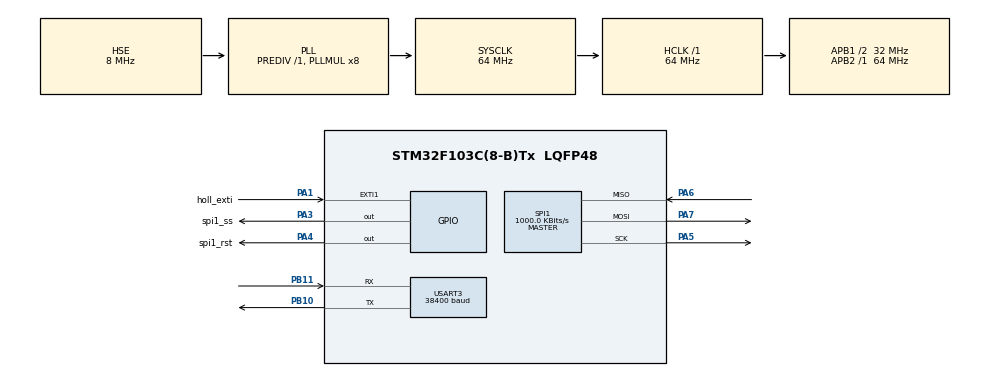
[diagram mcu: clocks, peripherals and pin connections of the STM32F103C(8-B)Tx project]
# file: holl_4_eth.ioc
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Mcu.Family=STM32F1
Mcu.Name=STM32F103C(8-B)Tx
Mcu.Package=LQFP48
NVIC.EXTI1_IRQn=true\:0\:0\:false\:true\:true\:1
NVIC.FLASH_IRQn=true\:0\:0\:false\:false\:true
NVIC.PVD_IRQn=true\:0\:0\:false\:false\:true
NVIC.PriorityGroup=NVIC_PRIORITYGROUP_4
NVIC.RCC_IRQn=true\:0\:0\:false\:false\:true
NVIC.SPI1_IRQn=true\:0\:0\:false\:true\:true\:2
NVIC.USART3_IRQn=true\:0\:0\:false\:true\:true\:3
PA1.GPIO_Label=holl_exti
PA1.GPIO_ModeDefaultEXTI=GPIO_MODE_IT_FALLING
PA1.Signal=GPXTI1
PA13.Mode=Serial_Wire
PA13.Signal=SYS_JTMS-SWDIO
PA14.Mode=Serial_Wire
PA14.Signal=SYS_JTCK-SWCLK
PA3.GPIO_Label=spi1_ss
PA3.Signal=GPIO_Output
PA4.GPIO_Label=spi1_rst
PA4.Signal=GPIO_Output
PA5.Mode=Full_Duplex_Master
PA5.Signal=SPI1_SCK
PA6.Mode=Full_Duplex_Master
PA6.Signal=SPI1_MISO
PA7.Mode=Full_Duplex_Master
PA7.Signal=SPI1_MOSI
PB10.Mode=Asynchronous
PB10.Signal=USART3_TX
PB11.Mode=Asynchronous
PB11.Signal=USART3_RX
PD0-OSC_IN.Mode=HSE-External-Oscillator
PD0-OSC_IN.Signal=RCC_OSC_IN
PD1-OSC_OUT.Mode=HSE-External-Oscillator
PD1-OSC_OUT.Signal=RCC_OSC_OUT
ProjectManager.HeapSize=0x200
ProjectManager.StackSize=0x400
ProjectManager.TargetToolchain=MDK-ARM V5
RCC.AHBFreq_Value=64000000
RCC.APB1CLKDivider=RCC_HCLK_DIV2
RCC.APB1Freq_Value=32000000
RCC.APB1TimFreq_Value=64000000
RCC.APB2Freq_Value=64000000
RCC.APB2TimFreq_Value=64000000
RCC.HCLKFreq_Value=64000000
RCC.HSIState=RCC_HSI_ON
RCC.PLLMUL=RCC_PLL_MUL8
RCC.PLLSourceVirtual=RCC_PLLSOURCE_HSE
RCC.SYSCLKFreq_VALUE=64000000
RCC.SYSCLKSource=RCC_SYSCLKSOURCE_PLLCLK
RCC.USBFreq_Value=64000000
SPI1.BaudRatePrescaler=SPI_BAUDRATEPRESCALER_64
SPI1.CalculateBaudRate=1000.0 KBits/s
SPI1.Mode=SPI_MODE_MASTER
USART3.BaudRate=38400
board=holl_4_eth

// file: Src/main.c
/**
  ******************************************************************************
  * File Name          : main.c
  * Description        : Main program body
  ******************************************************************************
  *
  * COPYRIGHT(c) 2016 STMicroelectronics
  *
  * Redistribution and use in source and binary forms, with or without modification,
  * are permitted provided that the following conditions are met:
  *   1. Redistributions of source code must retain the above copyright notice,
  *      this list of conditions and the following disclaimer.
  *   2. Redistributions in binary form must reproduce the above copyright notice,
  *      this list of conditions and the following disclaimer in the documentation
  *      and/or other materials provided with the distribution.
  *   3. Neither the name of STMicroelectronics nor the names of its contributors
  *      may be used to endorse or promote products derived from this software
  *      without specific prior written permission.
  *
  * THIS SOFTWARE IS PROVIDED BY THE COPYRIGHT HOLDERS AND CONTRIBUTORS "AS IS"
  * AND ANY EXPRESS OR IMPLIED WARRANTIES, INCLUDING, BUT NOT LIMITED TO, THE
  * IMPLIED WARRANTIES OF MERCHANTABILITY AND FITNESS FOR A PARTICULAR PURPOSE ARE
  * DISCLAIMED. IN NO EVENT SHALL THE COPYRIGHT HOLDER OR CONTRIBUTORS BE LIABLE
  * FOR ANY DIRECT, INDIRECT, INCIDENTAL, SPECIAL, EXEMPLARY, OR CONSEQUENTIAL
  * DAMAGES (INCLUDING, BUT NOT LIMITED TO, PROCUREMENT OF SUBSTITUTE GOODS OR
  * SERVICES; LOSS OF USE, DATA, OR PROFITS; OR BUSINESS INTERRUPTION) HOWEVER
  * CAUSED AND ON ANY THEORY OF LIABILITY, WHETHER IN CONTRACT, STRICT LIABILITY,
  * OR TORT (INCLUDING NEGLIGENCE OR OTHERWISE) ARISING IN ANY WAY OUT OF THE USE
  * OF THIS SOFTWARE, EVEN IF ADVISED OF THE POSSIBILITY OF SUCH DAMAGE.
  *
  ******************************************************************************
  */

/* USER CODE BEGIN Includes */

#include "main.h"

/* USER CODE END Includes */

/* USER CODE BEGIN PV */
/* Private variables ---------------------------------------------------------*/

/* USER CODE END PV */

void SystemClock_Config(void);
void MX_NVIC_Init(void);

/* USER CODE BEGIN PFP */
/* Private function prototypes -----------------------------------------------*/

/* USER CODE END PFP */

/* USER CODE BEGIN 0 */

//------------  собственные переменные  -----------------------------------

uint16_t S0_RX_BASE;      //  начальный адрес памяти, выделенной в RX буфере для Сокета0
uint16_t S0_RX_MASK;      // РАЗМЕР RX  буфера Сокета0
uint16_t S0_RX_OFFSET;    // указатель на начало принятого блока данных в RX буфере
uint16_t S0_RX_Start_Addr; // ФИЗИЧЕСКИЙ  адрес начала принтого блока данных в RX буфере
uint16_t S0_RX_RSR ;       //  РАЗМЕР принятого от Клиента блока данных
uint16_t S0_TX_BASE;    // начальный адрес памяти, выделенной в ТX буфере для Сокета0
uint16_t S0_TX_MASK;     // РАЗМЕР ТX  буфера Сокета0
uint16_t S0_TX_OFFSET ;
												 // указатель на начальный  адрес в памяти  ТХ буфера, куда следует записать блок
												 // данных для передачи Клиенту
uint16_t S0_TX_Start_Addr;
												 // ФИЗИЧЕСКИЙ  Начальный адрес в памяти ТХ буфера, куда следует записать
												 // блок  данных для передачи Клиенту
uint16_t S0_TX_End_Addr;
												 // указатель на Конечный адрес в памяти ТХ буфера, до которого W5100
												 //  должен дойти при считывании данных отсылаемых Клиенту

// --- строки символов для использования как HTTP  заголовки и «веб-странички»
// * размер  массива [222] взят с потолка и с запасом. Потом программа  расчитает  реальную длину данных
// ** CONST – чтобы  расположить строку в ПРОГРАММНОЙ памяти ( где места полно)
uint32_t main_count = 0;

const char ERROR404[222] = { "HTTP/1.1 200 OK\r\nContent-Type: text/html\r\nContent-Lenght: 39\r\n\r\n<HTML><CENTER>ERROR 404</CENTER></HTML>"};
// символы для  создания  странички «ошибка 404”

int try=0;  //  временно, для отладки. Номер обращения браузера –к серверу

/* USER CODE END 0 */

int main(void)
{

  /* MCU Configuration----------------------------------------------------------*/

  /* Reset of all peripherals, Initializes the Flash interface and the Systick. */
  HAL_Init();

  /* Configure the system clock */
  SystemClock_Config();

  /* Initialize all configured peripherals */
  MX_GPIO_Init();
  MX_USART3_UART_Init();
  MX_SPI1_Init();

  /* Initialize interrupts */
  MX_NVIC_Init();

  /* USER CODE BEGIN 2 */

	uint32_t count_temp = 0;
	char uart_data[20] = "";

	Init();   // инициализация  W5100  и системы ( сервера)

	OpenSocket0:

	//ooooooooooooooooooo ОТКРЫВАЕМ СОКЕТ 0 oooooooooooooooooooooooo
	if ( ! Open_Socket0() ) goto OpenSocket0; // цикл пока Сокет не откроется

	//ooooooooooooooooo  СЛУШАЕМ СОКЕТ  ooooooooooooooooooooooooo
	if ( Listen_Socket0() == 0 ) goto OpenSocket0; //если  сокет не «прослушивается» - уходим заново на открытие сокета

	//oooooooooooooo Соединение УСТАНОВЛЕНО ? oooooooooooooo

	CheckConnection:

  if (Socket0_Connection_Established() == 0 ) goto CheckConnection;
	// цикл пока соединение не установится ( тоесть пока не придет запрос от браузера)
  char messsage_check[] = "Connection Established... \r\n";
	uprintf(messsage_check);
	// для отладки (вывод на терминал)  МОЖНО УДАЛИТЬ

	//ooooooo( соединение уже установлено)  в принятых пакетах -  ДАННЫЕ? oooooo
  if  ( Socket0_Received_Data_Size() == 0 ) {
		char messsage_check2[] = "\r\n> (Zero) Received Data size is: %Lu (bytes) \r\n";
		uprintf(messsage_check2);
		// для отладки (вывод на терминал)  МОЖНО УДАЛИТЬ
		goto CheckFIN;   // раз ДАННЫХ нет о и передавать в отет нечего
															// поэтому сразу идем на проверку флагаFIN
  } // раз данных нет ( размер=0) то уходим на этап проверки закрытия соединения
   else
   {

		uprintf("(NonZero) Received Data size is: %Lu (bytes) \r\n");
                   // для отладки (вывод на терминал)  МОЖНО УДАЛИТЬ
   }

	// oooooooooo ( Данные в пакете есть) Процесс обработки*   ooooooooooooooo

	//на самом деле просто  выводит на терминал принятые данные
	// после отладки этот кусок можно удалить
	//Socket0_Received_Data_Reading();
	// для отладки (вывод на терминал)  МОЖНО УДАЛИТЬ

	// oooooooooooooo  Процесс ПЕРЕДАЧИ данных  ooooooooooooooooooooooooooooooo
	// тоесть отсылаем браузеру HTTP заголовок и HTML страничку

	if ( Socket0_Received_Request_is_index_html() ==  1)   Socket0_Send_index_html ();
   // если  клиент запрашивает "index.html"  то остылаем ему  index.html

	else  Socket0_Send_404_error ();
   //  если запрос любого другого файла  то  отсылаем  «страничку»  «ошибка 404»

	//ooooooooooo    Получен флаг  FIN ? ooooooooooooooooooooooooooo
	//  тоесть проверка требует ли  Клиент разрыва соединения

	CheckFIN:

	if ( Socket0_FIN_Received() == 1) goto  CloseConnection; //если FIN  пришел  - то  уходим закрывать СОКЕТ0

	//ooooooooooo    Разрыв соединения   ooooooooooooooooooooooo
  Socket0_Disconnect();    //разрыв СОЕДИНЕНИЯ Сокета0

	//ooooooooooo   Сокет ЗАКРЫТ ?    ooooooooooooooooooooooooooooooo
	if (Socket0_Closed() == 1 )  goto CloseConnection; // если Сокет закрыт – уходим закрывать Соединение

	//ooooooooooo   Не наступил ли тайм-аут по соединению  ?  ooooooooooooooooooo
	if ( Socket0_Connection_Timeout() == 1)  goto CloseConnection;
	//сокет не закрыт, но наступил тайм-аут, – уходим закрывать сокет

	CloseConnection:

	//ooooooooooo   Закрываем Сокет    ooooooooooooooooooooooooooooooooooo
  Socket0_Closing();
	//oooooooooooooooooooooooooooooooooooooooooooooooooooooooooooooooooooo

	goto OpenSocket0;
	// соединение с Клиентом отработано, цикл завершился.
	//  Уходим в начало и запускаем все по новой ( ждем новых запросов «веб-сайта» )

  /* USER CODE END 2 */

  /* Infinite loop */
  while (1)
  {

  }

}

/** System Clock Configuration
*/
void SystemClock_Config(void)
{

  RCC_OscInitTypeDef RCC_OscInitStruct;
  RCC_ClkInitTypeDef RCC_ClkInitStruct;

  RCC_OscInitStruct.OscillatorType = RCC_OSCILLATORTYPE_HSE;
  RCC_OscInitStruct.HSEState = RCC_HSE_ON;
  RCC_OscInitStruct.HSEPredivValue = RCC_HSE_PREDIV_DIV1;
  RCC_OscInitStruct.PLL.PLLState = RCC_PLL_ON;
  RCC_OscInitStruct.PLL.PLLSource = RCC_PLLSOURCE_HSE;
  RCC_OscInitStruct.PLL.PLLMUL = RCC_PLL_MUL8;
  HAL_RCC_OscConfig(&RCC_OscInitStruct);

  RCC_ClkInitStruct.ClockType = RCC_CLOCKTYPE_HCLK|RCC_CLOCKTYPE_SYSCLK
                              |RCC_CLOCKTYPE_PCLK1|RCC_CLOCKTYPE_PCLK2;
  RCC_ClkInitStruct.SYSCLKSource = RCC_SYSCLKSOURCE_PLLCLK;
  RCC_ClkInitStruct.AHBCLKDivider = RCC_SYSCLK_DIV1;
  RCC_ClkInitStruct.APB1CLKDivider = RCC_HCLK_DIV2;
  RCC_ClkInitStruct.APB2CLKDivider = RCC_HCLK_DIV1;
  HAL_RCC_ClockConfig(&RCC_ClkInitStruct, FLASH_LATENCY_2);

  HAL_SYSTICK_Config(HAL_RCC_GetHCLKFreq()/1000);

  HAL_SYSTICK_CLKSourceConfig(SYSTICK_CLKSOURCE_HCLK);

  /* SysTick_IRQn interrupt configuration */
  HAL_NVIC_SetPriority(SysTick_IRQn, 0, 0);
}

/** NVIC Configuration
*/
void MX_NVIC_Init(void)
{
  /* EXTI1_IRQn interrupt configuration */
  HAL_NVIC_SetPriority(EXTI1_IRQn, 0, 0);
  HAL_NVIC_EnableIRQ(EXTI1_IRQn);
  /* SPI1_IRQn interrupt configuration */
  HAL_NVIC_SetPriority(SPI1_IRQn, 0, 0);
  HAL_NVIC_EnableIRQ(SPI1_IRQn);
  /* USART3_IRQn interrupt configuration */
  HAL_NVIC_SetPriority(USART3_IRQn, 0, 0);
  HAL_NVIC_EnableIRQ(USART3_IRQn);
}

/* USER CODE BEGIN 4 */

void uprintf (char * str){
	HAL_UART_Transmit (&huart3, (uint8_t *)str, 100, 100);
}

void Init(void) {
	output_low(RESET); //генерируем «Сброс» для Ардуиновского Ethernet  шилда
	HAL_Delay(5);
	output_high(RESET);
	//output_low(SCK);  //готовим пины (уровни) для  SPI
	output_high(SS) ;

	//программный сброс чипа W5100.
	SetW5100register(MR, 0x80);   // пишем код  RST  в W5100 Mode Register

	//------------ Настраиваем  память (W5100) для Сокета 0 -------------
	SetW5100register(RMSR, 0x55);   // настраиваем RX буфер: по 2КБ под каждый сокет
	S0_RX_BASE = 0x6000;     //  базовый адрес RX  буфера    для Сокета0
	S0_RX_MASK = 0x07FF ;   // (2048 -1 )= 0x07FF, RX Маска ( = длина_буфера – 1 )
	SetW5100register(TMSR, 0x55);   // настраиваем ТX буфер: по 2КБ под каждый сокет
	S0_TX_BASE = 0x4000;  // базовый адрес TX буфера  для Сокета0
	S0_TX_MASK = 0x07FF;  // (2048 -1 )= 0x07FF, ТХ Маска ( = длина_буфера – 1 )

	//------------ прописываем свой МАС адрес   --------------
	//  т.е.  просто закидываем в МАС регистры W5100
	//    – свои переменные  с определенными ранее величинами
	SetW5100register(SHAR0, MAC0);
	SetW5100register(SHAR1, MAC1);
	SetW5100register(SHAR2, MAC2);
	SetW5100register(SHAR3, MAC3);
	SetW5100register(SHAR4, MAC4);
	SetW5100register(SHAR5, MAC5);

	//------------  прописываем свой  IP  --------------
	// так же -  раскидываем в регистры W5100 – свои переменные
	SetW5100register(SIPR0, SERVER_IP0);
	SetW5100register(SIPR1, SERVER_IP1);
	SetW5100register(SIPR2, SERVER_IP2);
	SetW5100register(SIPR3, SERVER_IP3);

	//------------  прописываем свой PORT  --------------
	// так же – свои константы – в регистры
	SetW5100register(S0_PORT0, SERVER_PORT0);
	SetW5100register(S0_PORT1, SERVER_PORT1);

	//------------ прописываем  Gateway addr  --------------
	// так же – свои константы – в регистры
	SetW5100register(GAR0, GATEWAY_IP0);
	SetW5100register(GAR1, GATEWAY_IP1);
	SetW5100register(GAR2, GATEWAY_IP2);
	SetW5100register(GAR3, GATEWAY_IP3);

	//------------ set Subnet Mask  --------------
	SetW5100register(SUBR0, SUBNET_MASK0);
	SetW5100register(SUBR1, SUBNET_MASK1);
	SetW5100register(SUBR2, SUBNET_MASK2);
	SetW5100register(SUBR3, SUBNET_MASK3);
	char message_init[] = "W5100web_init\r\n";
	uprintf(message_init);
	// для отладки (вывод на терминал)  МОЖНО УДАЛИТЬ
}

//--------------------------------------------------------------
//-------------  ОТКРЫТИЕ СОКЕТА 0  ----------------------------
int Open_Socket0(void)
{
	// для отладки (вывод на терминал)  МОЖНО УДАЛИТЬ
	char message_open_1[] = "TRY\r\n";
	uprintf(message_open_1);
	if (try ==255) try =0;
	else try++;
	char message_open_2[] = "Start Open Socket\r\n";
	uprintf(message_open_2);

	// устанавливаем Сокет – в режим ТСР, остальные опции отключаем
	SetW5100register(S0_MR, 0x01);

	// засылаем в регистр команд – команду ОТКРЫТЬ ( сокет)
	SetW5100register(S0_CR, OPEN);

	// проверяем или сокет открылся успешно
	// * в режиме ТСР , по  «SOCK_INIT»  можно проверить или сокет открылся
	if (GetW5100register(S0_SR) != SOCK_INIT)  // проверяем STATUS регистр
		 {
				SetW5100register(S0_CR, CLOSE); // если не открылся то закрываем
				return 0 ;                //  и выходим с кодом 0
		 }
	return 1;     //открылся успешно.  Выходим с кодом 1
}

//--------------------------------------------------------------
//-------------  Переводим Сокет0 в режим  СЛУШАТЬ  ------------

int Listen_Socket0 (void)
{
	char message_list[] = "Sock opened. Go Listen\r\n";
	uprintf(message_list); // для отладки (вывод на терминал)  МОЖНО УДАЛИТЬ

// засылаем в регистр команд команду перевода сокета в режим СЛУШАТЬ
// *СЛУШАТЬ – т.к. мы – Сервер, а инициатива  исходит от Клиента

SetW5100register(S0_CR, LISTEN);

if ( GetW5100register(S0_SR) != SOCK_LISTEN)  //  проверяем  Регистр Состояния
 {
  SetW5100register(S0_CR, CLOSE); //  если сокет не вошел в режим СЛУШАТь
  return 0;                   // закрываем его и выходим с кодом 0
 }

return 1;               //  сокет в режиме СЛУШАТЬ,  выходим с  кодом 1

}

//--------------------------------------------------------------------------
//-------------   проверка Установлено  ли  соединение с  Сокетом0 ? --------
// * в смысле от клиента ( браузера)

int Socket0_Connection_Established(void)
{

// если W5100  получает от клиента запрос на соединение, он отсылает ему пакет
// с  установленным флагом ACK и  изменяет свой статуст на SOCK_ESTABLISHED
// («соединение с сокетом установлено)
// Проверить это можно либо  проверкой бита в регистре прерываний,
// либо как здесь -  проверкой  регистра состояния

if  ( GetW5100register(S0_SR) == SOCK_ESTABLISHED)  return 1 ;

// читаем Регистр Состояния.
// Если  комбинация битов (код) = «SOCK_ESTABLISHED» то выходим с 1

else return 0;     // если нет – выходим с кодом 0

	char message_estab[] = "Connection Established\r\n";
	uprintf(message_estab);
                 // для отладки (вывод на терминал)  МОЖНО УДАЛИТЬ

// *после того как соединение установлено,  сокет готов к приему/передаче данных

}

//----    проверка были ли приняты ДАННЫЕ -------------
//-----------------------------------------------------

// * «служебные» пакеты между сторонами  соединения могут и пересылаться
// но нас интересует были ли в них именно ДАННЫЕ
//  (например, запрос  страницы/файла  с веб-сервера)

int Socket0_Received_Data_Size (void)

// на самом деле  интересует   размер принятых данных = НОЛЬ или нет

{

S0_RX_RSR = make16 (GetW5100register(S0_RX_RSR0), GetW5100register(S0_RX_RSR1) );
// читаем два  8-битных регистра размера принятых данных
// RSR0 – старш байт, RSR1 – младш байт
// и «собираем» 16-битное слово -  размер принятых данных

                uprintf("Received Data size is: %Lu (bytes) \r\n");
                 // для отладки (вывод на терминал)  МОЖНО УДАЛИТЬ

if (S0_RX_RSR == 0 ) return 0;   // нет ДАННЫХ ( т.е. размер=0 )
                                     // выходим с кодом 0

else  return 1;    // размер данных не нулевой ( т.е. данные  -есть)
                      // выходим с кодом 1

}

//---------- вывод на терминал принятых ДАННЫХ ---------------
//------------------------------------------------------------
// * функция  полезна только при отладке.  Ее МОЖНО УДАЛИТЬ

void Socket0_Received_Data_Reading (void)
{
	uint16_t n;
	int RXbyte;

	S0_RX_OFFSET = make16 ( GetW5100register(S0_RX_RD0), GetW5100register(S0_RX_RD1) );
// из двух  8-разрядных регистров  склеиваем  16 разрядную переменную -
// УКАЗАТЕЛЬ на  начало  принятых данных в RX буфере  сокета0

  uprintf("S0_RX_RD (RX mem read pointer)\r\n");

  S0_RX_OFFSET = (S0_RX_OFFSET & S0_RX_MASK ) ;
 // отсекаем лишнее  чтобы  укладывался в размеры выделенного под Сокет0 буфера

                 uprintf("> S0_RX_Offset = S0_RX_RD & S0_RX_MASK = %LX \r\n\r\n");

  S0_RX_Start_Addr = S0_RX_OFFSET + S0_RX_BASE ;

//вычисляем ФИЗИЧЕСКИЙ адрес начала  области памяти хранящей принятые данные

                 uprintf("> S0_RX_Start_Addr = S0_RX_OFFSET + S0_RX_BASE = %LX (physical)\r\n\r\n");

                  uprintf(">  Going  to print-out Received Data... \r\n\r\n");
                  uprintf("ooooooooooooooooooooooooooooooooooooooooooo\r\n");

for (n=0; n < S0_RX_RSR ; n++)
 {

   if ( S0_RX_Start_Addr > (S0_RX_BASE + S0_RX_MASK)  )  S0_RX_Start_Addr = S0_RX_BASE;

   RXbyte = GetW5100register(S0_RX_Start_Addr);

                   uprintf("%c");

   S0_RX_Start_Addr++;

 }

                   uprintf("END of  received data oooooooooooooo\r\n\r\n");

}

// --- проверяем или от Клиента пришел запрос на INDEX.HTML  файл ------
//----------------------------------------------------------------------

int Socket0_Received_Request_is_index_html(void)
{
int RXbyte=0;

 S0_RX_OFFSET = make16 ( GetW5100register(S0_RX_RD0), GetW5100register(S0_RX_RD1) );
// из двух  8-разрядных регистров  склеиваем  16 разрядную переменную -
// УКАЗАТЕЛЬ на  начало  принятых данных в RX буфере  сокета0

 S0_RX_OFFSET = (S0_RX_OFFSET & S0_RX_MASK ) ;
// отсекаем лишнее  чтобы  укладывался в размеры выделенного под Сокет0 буфера

 S0_RX_Start_Addr = S0_RX_OFFSET + S0_RX_BASE ;
//вычисляем ФИЗИЧЕСКИЙ адрес начала  области памяти хранящей принятые данные

                uprintf("\r\n>----------- parsing HTTP header-------------\r\n");
                 // для отладки (вывод на терминал)  МОЖНО УДАЛИТЬ

 while (RXbyte != 0x2F)   // ищем первый  "/"  в HTTP  заголовке
 {

    if ( S0_RX_Start_Addr > (S0_RX_BASE + S0_RX_MASK)  )  S0_RX_Start_Addr = S0_RX_BASE;
// начало блока данных не обязательно м располагаться в начале  буфера
// проверяем, не дошли  ли до КОНЦА  буфера
// если да – идем в самое НАЧАЛО буфера – данный продолжаются именно с того места

   RXbyte = GetW5100register(S0_RX_Start_Addr);
// читаем из буфера RX байт,  на который  указывает СтартовыйАДрес

                      uprintf("%c");
                 // для отладки (вывод на терминал)  МОЖНО УДАЛИТЬ

   S0_RX_Start_Addr++;  // инкрементируем Адрес – теперь он указывает на следующ юайт

 }

// раз мы здесь значит уже дошли («отловили») до первого в HTTP заголовке символа “/”
// и сейчас Адрес  указывает на следующий за "/"  символ.
// Ради него и затевался весь сыр-бор

    RXbyte = GetW5100register(S0_RX_Start_Addr); //считываем этот  символ

          uprintf("\r\n> -------- END of parsing HTTP header -------\r\n");
                 // для отладки (вывод на терминал)  МОЖНО УДАЛИТЬ

     if (RXbyte == 0x20)  return 1;
// если это «пробел»  - значит клиент запрашивает файл без названия, тоесть index.html
//  выходим с кодом подтверждения 1

     else return 0;
// если это был не пробел а любой другой символ, значит  запрашивается НЕ index.html
// выходим с кодом ошибки - 0

}

//------   отправка Клиенту страницы «ошибка 404» ------------
//-------------------------------------------------------------

// заполняем ТХ буфер сокета0  блоком данных из HTTP заголовка и   HTML  кода
//  страницы «ошибка 404»,  затем  показываем W5100  начало и конец
// этого блока данных в буфере,  и даем команду  ОТОСЛАТЬ

void Socket0_Send_404_error (void)
{   uint16_t n;
char TXbyte;
uint16_t datalength;

  S0_TX_OFFSET = make16 ( GetW5100register(S0_TX_RD0), GetW5100register(S0_TX_RD1) );  // из двух  8-разрядных регистров  склеиваем  16 разрядную переменную - УКАЗАТЕЛЬ
// на  место, откуда можно начать размещать блок данных в ТX буфере  сокета0

  S0_TX_OFFSET = (S0_TX_OFFSET & S0_TX_MASK ) ;
// отсекаем лишнее  чтобы  укладывался в размеры выделенного под Сокет0 буфера

  S0_TX_Start_Addr = S0_TX_OFFSET + S0_TX_BASE ;
//вычисляем ФИЗИЧЕСКИЙ начальный адрес для размещения блока данных в буфере ТХ

  //вычисляем ДЛИНУ строки  содержащей HTTP заголовки и HTML  коды
  datalength=0;
  while ( ERROR404[datalength] !=0) datalength++;
// попросту  инкрементируем «datalength» пока не наткнемся на первый 0х00 в строке
//  (0х00 -  признак конца данных)

// Для того, чтобы W5100 передала блок Данных, его необходимо разместить
// в ТХ буфере Сокета, начиная с адреса, который ммы вычислили ранее.
// После этого, W5100 необходимо указать   КОНЕЦ блока данных в буфере.

// Указание на конец нашего блока данных мы записываем в соотв регистр W5100:

// Вытаскиваем из пары регистров - указателей конца блока данных их текущее значение
// и склеиваем из них  2-байтный указатель
// *( в отличие от предыдущего  вычисления ФИЗИЧЕСКОГО адреса начала длока данных
// здесь мы имеем дело именно с «внутренним» указателем адреса)
  S0_TX_End_Addr = make16 ( GetW5100register(S0_TX_WR0), GetW5100register(S0_TX_WR1) );

// добавляем к получившемуся -  вычисленную ранее длину нашего блока данных
      S0_TX_End_Addr += datalength ;      // increment to  fatalength
   // получившееся  значение ( указатель на конец наших данных) вновь «расклеииваем»
   // на  2 байта и  записываем в  соотв  регистры
      SetW5100register(S0_TX_WR0, make8( S0_TX_End_Addr ,1) );  // старший байт
      SetW5100register(S0_TX_WR1, make8( S0_TX_End_Addr,0) );  // младший байт

                 uprintf("\r\n>Data length is: %Lu \r\n");
                 uprintf("\r\n>--- Filling TX buffer  w  data: -----------\r\n");
                 // для отладки (вывод на терминал)  МОЖНО УДАЛИТЬ

 // теперь приступаем к собственно заполнению  буфера ТХ – нашими  данными
for (n=0; n < datalength; n++)  // цикл  на длину блока данных
  {
     TXbyte = ERROR404[n];
// читаем текущий байт из строки,  в которой записан весь код «веб страницы»
// ( HTTP заголовки и  HTML коды)

// поскольку «выданный» нам от W5100  адрес начала блока данных в ТХ буфере
// может не совпадать с  началом  буфера, а  находиться, например в 10 байтах
// от конца буфера, необходимо при записи каждого нового байта наших данных
// проверять, не вылезли  ли  мы за границы буфера

  if (S0_TX_Start_Addr  > (S0_TX_BASE + S0_TX_MASK)) S0_TX_Start_Addr = S0_TX_BASE;
 // .. и если  дошли до края буфера – то   продолжать следует с НАЧАЛА буфера

// * W5100  в курсе этих манипуляций (это  вообще была  ее  идея а не наша ))и когда //будет передавать данные  - также, в  случае, когда дойдет до конца буфера
//( именно БУФЕРА,  а НЕ до указателя на КОНЕЦ Данных) – также будет продолжать
//  от начала буфера

 // с ТЕКУЩИМ адресом  записи текущего байта мы разобрались выше
// и сейчас просто пишем текущий байт данных – в  соотв  ячейку памяти буфера ТХ
  SetW5100register( S0_TX_Start_Addr, TXbyte ) ;

                       //putc(TXbyte);
                    // для отладки (вывод на терминал)  МОЖНО УДАЛИТЬ

  S0_TX_Start_Addr++ ;
  // инкрементируем текущий адрес (для записи следующего байта данных)

  }

                  uprintf("\r\n>--- end of  Filling  -----------\r\n");
                    // для отладки (вывод на терминал)  МОЖНО УДАЛИТЬ

// все, все данные для передачи мы разместили в буфере,
// указали, где наши данные заканчиваются, теперь можно их и передавать

    //  засылаем в Регистр Команд сокета  - команду SEND
    SetW5100register(S0_CR, SEND);

                    uprintf("> Data was  sent \r\n\r\n");
                    // для отладки (вывод на терминал)  МОЖНО УДАЛИТЬ

}

//-----------------------------------------------------------

//-- отправка Клиенту страницы «index.html» ---------------
//-------------------------------------------------------------------
void Socket0_Send_index_html (void) // send index.html "page"  index.html
{
// расписывать не стану – все абсолютно так же как при посылке страницы «ошибка 404»
// только  «строка»  содержащая  HTTP  заголовки и  HTML  коды – другая

	uint16_t n;
	char TXbyte;
	uint16_t datalength;

	char count_string[10] = "";
	sprintf(count_string, "%d", main_count);
	char INDEX[222]  = "HTTP/1.1 200 OK\r\nContent-Type: text/html\r\nContent-Lenght: 43\r\n\r\n<HTML><meta http-equiv='refresh' content='2'/><CENTER>Passes: ";
	strcat (INDEX, count_string);
	strcat (INDEX, "</CENTER></HTML>");
	//char INDEX[222]  = "HTTP/1.1 200 OK\r\nContent-Type: text/html\r\nContent-Lenght: 43\r\n\r\n<HTML><meta http-equiv='refresh' content='5'/><CENTER>Passes: " + "</CENTER></HTML>";
// символы для  создания  странички «index.html”

	uprintf("going to send INDEX.HTML.....\r\n");
                    // для отладки (вывод на терминал)  МОЖНО УДАЛИТЬ

  S0_TX_OFFSET = make16 ( GetW5100register(S0_TX_RD0), GetW5100register(S0_TX_RD1) );  // склеиваем  2-байтный указатель на началь адрес для размещения блока данных

  S0_TX_OFFSET = (S0_TX_OFFSET & S0_TX_MASK ) ;

  S0_TX_Start_Addr = S0_TX_OFFSET + S0_TX_BASE ;
  // вычисляем ФИЗИЧЕСКИЙ  начальный адрес  для размещения блока данных

	uprintf("\r\n  INDEX[i], datalegth -------------\r\n");

  //вычисляем ДЛИНУ блока данных
  datalength=0;

  while ( INDEX[datalength] !=0) datalength++;
 // считаем длину данных – пока не дойдем до первого  0х00 – признака конца данных

// записываем в  W5100  УКАЗАТЕЛЬ  на КОНЕЦ блока данных на передачу
 S0_TX_End_Addr = make16 ( GetW5100register(S0_TX_WR0), GetW5100register(S0_TX_WR1) );  // «склеиваем» вместе 2 байта текущего  значения

      S0_TX_End_Addr += datalength ;      // increment to  fatalength
      // добавляем длину нашего блока данных

 // новое значение заново распихиваем по двум 1-байтным регистрам
      SetW5100register(S0_TX_WR0, make8( S0_TX_End_Addr ,1) );  // старш байт
      SetW5100register(S0_TX_WR1, make8( S0_TX_End_Addr,0) );  // младш байт

                  uprintf("\r\n>Data length is: %Lu \r\n");
                  uprintf("\r\n>--- Filling TX buffer  w  data: -----------\r\n");
                    // для отладки (вывод на терминал)  МОЖНО УДАЛИТЬ

 // заполняем буфер – нашими данными на передачу
for (n=0; n < datalength; n++)
  {
   TXbyte= INDEX[n];
// читаем текущий байт из строки  содержащей «веб страницу»  index.html
// (т.е.   HTTP Header  + HTML code)

  if (S0_TX_Start_Addr  > (S0_TX_BASE + S0_TX_MASK)) S0_TX_Start_Addr = S0_TX_BASE;
  // проверяем не дошли ли до края буфера, и если да – перескакиваем на начало

  SetW5100register( S0_TX_Start_Addr, TXbyte ) ;
   // зарисываем текущий байт блока данных ( «веб страницы») – в  буфер ТХ

                //putc(TXbyte);  // printout to Terminal ( for testing purpose)
                      // для отладки (вывод на терминал)  МОЖНО УДАЛИТЬ

  S0_TX_Start_Addr++ ;
  // переходим к следующему адресу ТХ буфера

  }

                 uprintf("\r\n>--- end of  Filling  -----------\r\n");
                    // для отладки (вывод на терминал)  МОЖНО УДАЛИТЬ

  // буфер заполнен нашим блоком данных, можно их передавать Клиенту

    //  пишем в Регистр Команд сокета - команду SEND
    SetW5100register(S0_CR, SEND);

                     uprintf("> Data was  sent \r\n\r\n");
                    // для отладки (вывод на терминал)  МОЖНО УДАЛИТЬ

}

//--------------------------------------------------------

//--- содержит ли пакет, пришедший от Клиента,  установленный флаг FIN ? ------
//-----------------------------------------------------------------------------

int Socket0_FIN_Received(void)
{
// проверяем  не пожелал ли  клиент разрыва отношений (тоесть соединения)
// послав нам  флаг FIN  -  запрос на разрыв соединения

// можно проверять через проверку бита в регистре прерываний
// либо как здесь – через проверку  Регистра Состояния Сокета0

// выходим с  1  если  FIN пришел  и  с 0  если  FINа не было
if ( GetW5100register(S0_SR) == SOCK_CLOSE_WAIT) return 1;
else return 0;

}

//---------------------------------------------------------

// ------ разрываем СОЕДИНЕНИЕ для  Socket0   -----------------
//-------------------------------------------------------------
void Socket0_Disconnect(void)
{

//  отключаем сокет от СОЕДИНЕНИЯ с клиентом
// заслав соотв команду в Регистр Команд  сокета0

SetW5100register(S0_CR, DISCON);

}

// ------  проверка или Сокет0 ЗАКРЫТ --------------------
//--------------------------------------------------------
int Socket0_Closed(void)
{
// Сокет мож быть закрыт после засылки нами в Регистр Команд Сокета
//  команды ЗАКРЫТь (CLOSE), или  после тайм-аута, или  при разрыве соединения

// проверка или  Сокет0 действительно закрыт

// * можно делать через проверку  бита в регистре прерываний,
// либо как здесь -  проверкой Регистра Состояния

if  ( GetW5100register(S0_SR) == SOCK_CLOSED) return 1;
else return 0;
// выходим с 1  если Сокет (или СОЕДИНЕНИЕ сокета0) закрыто
// либо с 0 если сокет  до сих пор не закрылся

}

// -----  нет ли ТАЙМ-АУТа по соединению Сокета0 ? ------------
//-------------------------------------------------------------

int Socket0_Connection_Timeout(void)
{
// если на линии ошибки, или  клиент хочет закрыть соединение, или  от клиента давно
// ничего не приходит   итп – проверяем соединение на тайм-аут
//  иначе будет некорректно,  если наш  сервер будет слать клиенту пакеты
// ( с  соответствующими TCP флагами ) в том порядке, который подразумевается
// для нормального процесса обмена пакетами

// тайм-аут проверяется либо через биты в  регистре прерываний
// либо как у нас – через проверку Регистра Состояния сокета0

// ПРИЕЧАНИЕ: как видим, регистр проверяется на состояние «SOCK_CLOSED»
// - какая тут связь с тайм-аутом??
// Дело в том что в Регистре Состояний нет отдельного кода для тайм-аут,
// но в W5100  код «SOCK_CLOSED»  связан также и  с тайм-аутом
// поэтому  проверка на этот код – вполне легитимна

if  ( GetW5100register(S0_SR) == SOCK_CLOSED) return 1;
else return 0;

// выходим с 1  если   тайм-аут  наступил, либо с 0 если тайм-аута не было

}

// ------------  ЗАКРЫТИЕ Сокета0    ----------------------------
//----------------------------------------------------------------

void Socket0_Closing(void)
{
//  should be performed in case that connection is closed after data exchange,
// socket should be closed with Timeout occurrence,
// or forcible disconnection is necessary due to abnormal operation etc.

                    uprintf(">going to Close Socket0 ..... \r\n");
                      // для отладки (вывод на терминал)  МОЖНО УДАЛИТЬ

// засылаем в Регистр Команд сокета0  код на ЗАКРЫТИЕ сокета
SetW5100register(S0_CR, CLOSE);

                   uprintf(">  ------ Socket CLOSED    ----- \r\n\r\n");
                      // для отладки (вывод на терминал)  МОЖНО УДАЛИТЬ

}

// ---- ЗАПИСЬ (посылка) байта  через SPI   -------------
//--------------------------------------------------------

//* у меня название функции «SSPI» оттого, что в компайлере есть собственная
// готовая йункция (SPI… )но она глючная. Поэтому я написал свой вариант
// а чтоб не было конфликтов (названий) в компайлере – дал ей другое имя

// назначение функции – послать ОДИН БАЙТ через SPI
//  более верхние уровни «протокола»  обмена (тоесть запись всех ТРЕХ байтов)  реализует
//  другая функция  - функция для записи в РЕГИСТР

//* состояние линаа данных -  валидное для W5100 при  переходе клока из 0 в 1

void SSPI_write( int Data)
{
	HAL_SPI_Transmit (&hspi1, (uint8_t *)&Data, 1, 200);
//int i;
//int mask=0x80; // ставим маску на СТАРШИЙ бит (тоесть начинаем со СТАРШЕГО бита)
//                // так  как по  протоколу  SPI для W5100 данные следуют
//                // от СТАРШЕГО бита -  к МЛАДШЕМУ  ( MSB first)

////output_low(SCK);   // просто чтоб быть уверенными что клок – в «исходном» положении

//for (i=0; i<8;i++)    // цикл для считывания 8 бит
// {
//  //output_low(MOSI);   // просто выставляем «данные» на линии -  в 0

//  if ( (mask & Data) != 0) output_high(MOSI);
//          // если  (маска & ДАННЫЕ)  =1  то  выставляем на линию 1
//         // если нет – то на линии  так и остается 0, выставленный строчкой выше

//  output_high(SCK);
//   // выдаем пульс клока ( из 0 в 1)  - именно по нему  происходит запись бита
//   // с линии  данных SPI – в   регистры W5100
//
//  mask = mask>>1; ;  // сдвигаем маску  на 1 бит вправо
//                    // *можно поставить  эту операцию и  после  цикла
//                    // но в этом месте этим заодно  обеспечивается
//                    // некотор задержка между тактами (тоесть частота клока)

//
//  output_low(SCK); // завершаем  клок, переводим его в «исходное» состояние ( 0 )
// }
// // «.. и так восэм  рас» (с)

}
//----------------------------------------------------------

//----------- ЧТЕНИЕ байта с линии   SPI  ------------------
//-----------------------------------------------------------

//* у меня название «SSPI» оттого, что в компайлере есть собственная
// готовая йункция (SPI… )но она глючная. Поэтому я написал свой вариант
// а чтоб не было конфликтов в компайлере – дал ей другое имя

// назначение функции – прочесть  ОДИН БАЙТ
//  более верхние уровни «протокола» реализует
// собственно функция  чтения РЕГИСТРА

// *данные при чтении из регистров W5100 -  валидные при  переходе клока из 1 в 0

//* тоесть если при передаче  мы  сначала  выставляли данные на линию
//  и только после этого  подтверждали их валидность переводом клока из 0 в 1
// а  на прниеме  мы сначала  выставляем  клок в 1,  читаем данные
// и «защелкиваем» данные  переходом клока из 1 в 0

uint8_t SSPI_read ( void)
{

int Data=0;

HAL_SPI_Receive (&hspi1, (uint8_t *)&Data, 1, 200);

//int i;
//int mask=0x80; // ставим маску на СТАРШИЙ бит (тоесть начинаем со старшего бита)
//                // так  как по  протоколу  SPI для W5100 данные следуют
//                // от СТАРШЕГО бита -  к МЛАДШЕМУ  ( MSB first)

////output_low(SCK);   // просто чтоб быть уверенными что клок – в «исходном» положении

//for (i=0; i<8;i++)  // цикл для считывания 8 бит

// {
//  output_high(SCK);   // выдаем пульс клока ( из 0 в 1)
//
//  if ( input(MISO)!= 0) Data = Data | mask ;
//  // если на линии 1, то  делаем ИЛИ  маски – и текущего  значения «собираемого» байта
//
//  mask = mask>>1; ;   // сдвигаем маску  на 1 бит вправо
//                    // *можно поставить и  после  цикла
//                    // но в этом месте этим заодно  обеспечивается
//                    // некотор задержка между тактами (тоесть частота клока)

//
//  output_low(SCK); // завершаем  клок, переводим его в «исходное» состояние ( 0 )

// }

return Data;
}
//---------------------------------------------------------------

//-------  ЗАПИСЬ  ( установка)  регистров W5100 -------------
//--------------------------------------------------------------
void SetW5100register (uint16_t regaddr, uint8_t data)
// 2 аргумента: 16 бит адреса регистра и 8 бит данных для записи

{
output_low(SS); // выставляем Чип Селект ( ставим в 0)

SSPI_write (0xF0);  // сперва  посылаем в регистр команду ЗАПИСЬ

                                   //*  make8 – преобразует 16 бит - в  8 бит
SSPI_write (  make8(regaddr,1) );  // выделяем из адреса старший байт  (MSB)
                                   // и пишем  его на SPI

SSPI_write (  make8(regaddr,0) );  // выделяем из адреса младший байт  (LSB)
                                   // и шлем  его на SPI

SSPI_write (data);   // пишем на SPI ДАННЫЕ для записи в регистр

output_high(SS);     //  снимаем ЧипСелект  ( ставим в 1)

}
//---------------------------------------------------------

//-----  ЧТЕНИЕ содержимого регистров W5100 ----------
//----------------------------------------------------
int  GetW5100register (uint16_t regaddr)
//аргумент – 2-байтовый адрес регистра
// возвращает: 1 байт считанных из регистра данных
{
int RegData;

output_low(SS); // выставляем Чип Селект ( ставим в 0)

SSPI_write (0x0F);  // сперва  засылаем команду ЧТЕНИЕ

                                   //*  make8 – преобразует 16 бит в  8 бит
SSPI_write (  make8(regaddr,1) );  //  выделяем из адреса старший байт  (MSB)
                                   // и выставляем его на SPI

SSPI_write (  make8(regaddr,0) );  //  выделяем из адреса младший байт  (LSB)
                                   // и выставляем его на SPI

RegData = SSPI_read ();    // теперь в ответ W5100  выдаст нам содержимое (8 бит)
                           // регистра по засланному перед этим адресу

output_high(SS);    //  снимаем ЧипСелект  ( ставим в 1)

return RegData;	// выходим с  прочитанным байтом

}

void output_high (uint16_t pin){
	HAL_GPIO_WritePin(GPIOA, pin, GPIO_PIN_SET);
}

void output_low (uint16_t pin){
	HAL_GPIO_WritePin(GPIOA, pin, GPIO_PIN_RESET);
}

uint8_t make8(uint16_t n, uint8_t high){
	if (high == 1) return ((n & 0xFF00) >> 8);
	else return (n & 0xFF);
}

uint16_t make16(uint8_t high, uint8_t low){
	return ((high<<8) | (low));

}

/* USER CODE END 4 */

/************************ (C) COPYRIGHT STMicroelectronics *****END OF FILE****/
